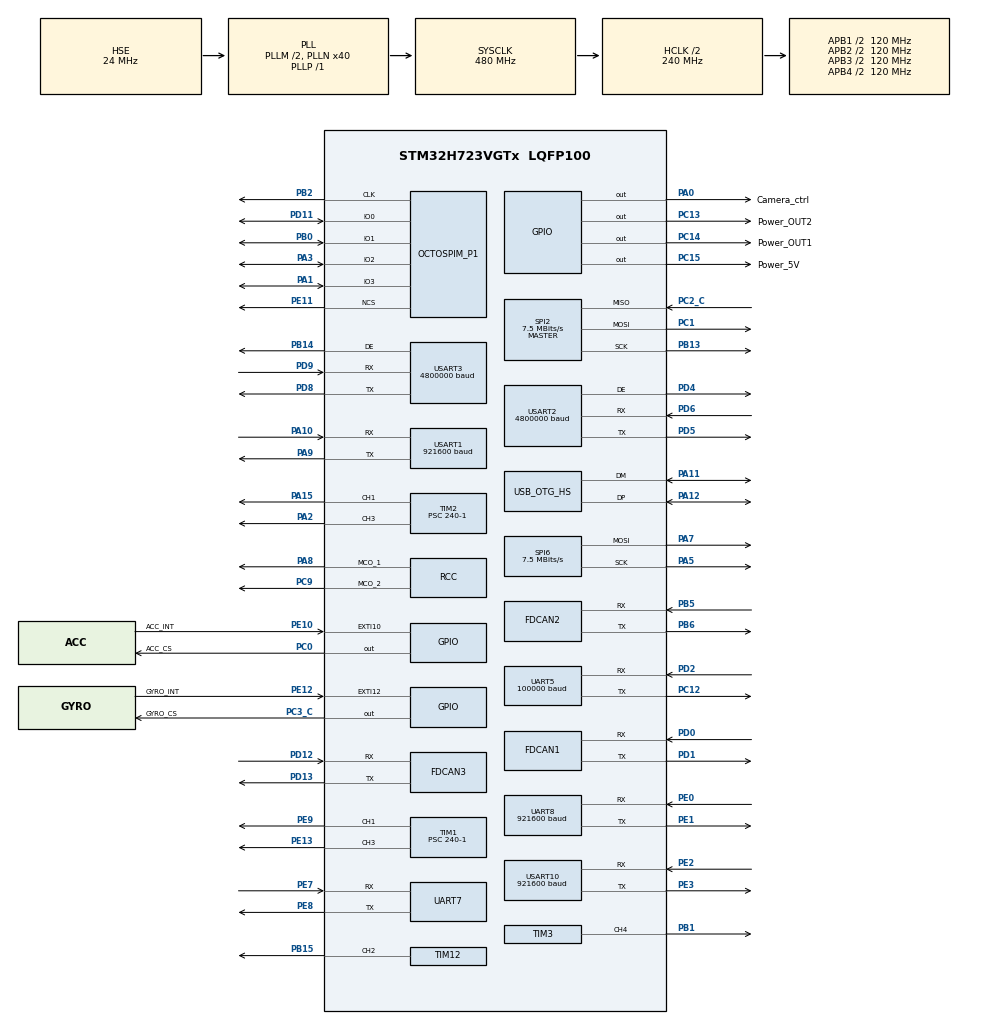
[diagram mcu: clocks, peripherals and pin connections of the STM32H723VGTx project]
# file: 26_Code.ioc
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CORTEX_M7.AccessPermission-Cortex_Memory_Protection_Unit_Region0_Settings=MPU_REGION_PRIV_RO
CORTEX_M7.AccessPermission-Cortex_Memory_Protection_Unit_Region1_Settings=MPU_REGION_FULL_ACCESS
CORTEX_M7.BaseAddress-Cortex_Memory_Protection_Unit_Region0_Settings=0x08000000
CORTEX_M7.BaseAddress-Cortex_Memory_Protection_Unit_Region1_Settings=0x20000000
CORTEX_M7.Enable-Cortex_Memory_Protection_Unit_Region0_Settings=MPU_REGION_ENABLE
CORTEX_M7.Enable-Cortex_Memory_Protection_Unit_Region1_Settings=MPU_REGION_ENABLE
CORTEX_M7.IsCacheable-Cortex_Memory_Protection_Unit_Region0_Settings=MPU_ACCESS_CACHEABLE
CORTEX_M7.MPU_Control=MPU_PRIVILEGED_DEFAULT
CORTEX_M7.Number-Cortex_Memory_Protection_Unit_Region1_Settings=MPU_REGION_NUMBER1
CORTEX_M7.Number-Cortex_Memory_Protection_Unit_Region2_Settings=MPU_REGION_NUMBER2
CORTEX_M7.Number-Cortex_Memory_Protection_Unit_Region3_Settings=MPU_REGION_NUMBER3
CORTEX_M7.Number-Cortex_Memory_Protection_Unit_Region4_Settings=MPU_REGION_NUMBER4
CORTEX_M7.Size-Cortex_Memory_Protection_Unit_Region0_Settings=MPU_REGION_SIZE_1MB
CORTEX_M7.Size-Cortex_Memory_Protection_Unit_Region1_Settings=MPU_REGION_SIZE_128MB
CORTEX_M7.SubRegionDisable-Cortex_Memory_Protection_Unit_Region1_Settings=0xEE
CORTEX_M7.TypeExtField-Cortex_Memory_Protection_Unit_Region0_Settings=MPU_TEX_LEVEL1
CORTEX_M7.TypeExtField-Cortex_Memory_Protection_Unit_Region1_Settings=MPU_TEX_LEVEL1
Dma.Request0=SPI2_RX
Dma.Request1=SPI2_TX
Dma.Request10=USART2_TX
Dma.Request11=USART1_RX
Dma.Request12=USART1_TX
Dma.Request13=UART8_RX
Dma.Request2=UART5_RX
Dma.Request3=UART7_RX
Dma.Request4=UART7_TX
Dma.Request5=USART10_RX
Dma.Request6=USART10_TX
Dma.Request7=USART3_RX
Dma.Request8=USART3_TX
Dma.Request9=USART2_RX
Dma.SPI2_RX.0.Direction=DMA_PERIPH_TO_MEMORY
Dma.SPI2_RX.0.EventEnable=DISABLE
Dma.SPI2_RX.0.FIFOMode=DMA_FIFOMODE_DISABLE
Dma.SPI2_RX.0.Instance=DMA1_Stream0
Dma.SPI2_RX.0.MemDataAlignment=DMA_MDATAALIGN_BYTE
Dma.SPI2_RX.0.MemInc=DMA_MINC_ENABLE
Dma.SPI2_RX.0.Mode=DMA_NORMAL
Dma.SPI2_RX.0.PeriphDataAlignment=DMA_PDATAALIGN_BYTE
Dma.SPI2_RX.0.PeriphInc=DMA_PINC_DISABLE
Dma.SPI2_RX.0.Polarity=HAL_DMAMUX_REQ_GEN_RISING
Dma.SPI2_RX.0.Priority=DMA_PRIORITY_VERY_HIGH
Dma.SPI2_RX.0.RequestNumber=1
Dma.SPI2_RX.0.SignalID=NONE
Dma.SPI2_RX.0.SyncEnable=DISABLE
Dma.SPI2_RX.0.SyncPolarity=HAL_DMAMUX_SYNC_NO_EVENT
Dma.SPI2_RX.0.SyncRequestNumber=1
Dma.SPI2_RX.0.SyncSignalID=NONE
Dma.SPI2_TX.1.Direction=DMA_MEMORY_TO_PERIPH
Dma.SPI2_TX.1.EventEnable=DISABLE
Dma.SPI2_TX.1.FIFOMode=DMA_FIFOMODE_DISABLE
Dma.SPI2_TX.1.Instance=DMA1_Stream1
Dma.SPI2_TX.1.MemDataAlignment=DMA_MDATAALIGN_BYTE
Dma.SPI2_TX.1.MemInc=DMA_MINC_ENABLE
Dma.SPI2_TX.1.Mode=DMA_NORMAL
Dma.SPI2_TX.1.PeriphDataAlignment=DMA_PDATAALIGN_BYTE
Dma.SPI2_TX.1.PeriphInc=DMA_PINC_DISABLE
Dma.SPI2_TX.1.Polarity=HAL_DMAMUX_REQ_GEN_RISING
Dma.SPI2_TX.1.Priority=DMA_PRIORITY_VERY_HIGH
Dma.SPI2_TX.1.RequestNumber=1
Dma.SPI2_TX.1.SignalID=NONE
Dma.SPI2_TX.1.SyncEnable=DISABLE
Dma.SPI2_TX.1.SyncPolarity=HAL_DMAMUX_SYNC_NO_EVENT
Dma.SPI2_TX.1.SyncRequestNumber=1
Dma.SPI2_TX.1.SyncSignalID=NONE
Dma.UART5_RX.2.Direction=DMA_PERIPH_TO_MEMORY
Dma.UART5_RX.2.EventEnable=DISABLE
Dma.UART5_RX.2.FIFOMode=DMA_FIFOMODE_DISABLE
Dma.UART5_RX.2.Instance=DMA1_Stream2
Dma.UART5_RX.2.MemDataAlignment=DMA_MDATAALIGN_BYTE
Dma.UART5_RX.2.MemInc=DMA_MINC_ENABLE
Dma.UART5_RX.2.Mode=DMA_NORMAL
Dma.UART5_RX.2.PeriphDataAlignment=DMA_PDATAALIGN_BYTE
Dma.UART5_RX.2.PeriphInc=DMA_PINC_DISABLE
Dma.UART5_RX.2.Polarity=HAL_DMAMUX_REQ_GEN_RISING
Dma.UART5_RX.2.Priority=DMA_PRIORITY_VERY_HIGH
Dma.UART5_RX.2.RequestNumber=1
Dma.UART5_RX.2.SignalID=NONE
Dma.UART5_RX.2.SyncEnable=DISABLE
Dma.UART5_RX.2.SyncPolarity=HAL_DMAMUX_SYNC_NO_EVENT
Dma.UART5_RX.2.SyncRequestNumber=1
Dma.UART5_RX.2.SyncSignalID=NONE
Dma.UART7_RX.3.Direction=DMA_PERIPH_TO_MEMORY
Dma.UART7_RX.3.EventEnable=DISABLE
Dma.UART7_RX.3.FIFOMode=DMA_FIFOMODE_DISABLE
Dma.UART7_RX.3.Instance=DMA1_Stream3
Dma.UART7_RX.3.MemDataAlignment=DMA_MDATAALIGN_BYTE
Dma.UART7_RX.3.MemInc=DMA_MINC_ENABLE
Dma.UART7_RX.3.Mode=DMA_NORMAL
Dma.UART7_RX.3.PeriphDataAlignment=DMA_PDATAALIGN_BYTE
Dma.UART7_RX.3.PeriphInc=DMA_PINC_DISABLE
Dma.UART7_RX.3.Polarity=HAL_DMAMUX_REQ_GEN_RISING
Dma.UART7_RX.3.Priority=DMA_PRIORITY_VERY_HIGH
Dma.UART7_RX.3.RequestNumber=1
Dma.UART7_RX.3.SignalID=NONE
Dma.UART7_RX.3.SyncEnable=DISABLE
Dma.UART7_RX.3.SyncPolarity=HAL_DMAMUX_SYNC_NO_EVENT
Dma.UART7_RX.3.SyncRequestNumber=1
Dma.UART7_RX.3.SyncSignalID=NONE
Dma.UART7_TX.4.Direction=DMA_MEMORY_TO_PERIPH
Dma.UART7_TX.4.EventEnable=DISABLE
Dma.UART7_TX.4.FIFOMode=DMA_FIFOMODE_DISABLE
Dma.UART7_TX.4.Instance=DMA1_Stream4
Dma.UART7_TX.4.MemDataAlignment=DMA_MDATAALIGN_BYTE
Dma.UART7_TX.4.MemInc=DMA_MINC_ENABLE
Dma.UART7_TX.4.Mode=DMA_NORMAL
Dma.UART7_TX.4.PeriphDataAlignment=DMA_PDATAALIGN_BYTE
Dma.UART7_TX.4.PeriphInc=DMA_PINC_DISABLE
Dma.UART7_TX.4.Polarity=HAL_DMAMUX_REQ_GEN_RISING
Dma.UART7_TX.4.Priority=DMA_PRIORITY_VERY_HIGH
Dma.UART7_TX.4.RequestNumber=1
Dma.UART7_TX.4.SignalID=NONE
Dma.UART7_TX.4.SyncEnable=DISABLE
Dma.UART7_TX.4.SyncPolarity=HAL_DMAMUX_SYNC_NO_EVENT
Dma.UART7_TX.4.SyncRequestNumber=1
Dma.UART7_TX.4.SyncSignalID=NONE
Dma.UART8_RX.13.Direction=DMA_PERIPH_TO_MEMORY
Dma.UART8_RX.13.EventEnable=DISABLE
Dma.UART8_RX.13.FIFOMode=DMA_FIFOMODE_DISABLE
Dma.UART8_RX.13.Instance=DMA2_Stream5
Dma.UART8_RX.13.MemDataAlignment=DMA_MDATAALIGN_BYTE
Dma.UART8_RX.13.MemInc=DMA_MINC_ENABLE
Dma.UART8_RX.13.Mode=DMA_NORMAL
Dma.UART8_RX.13.PeriphDataAlignment=DMA_PDATAALIGN_BYTE
Dma.UART8_RX.13.PeriphInc=DMA_PINC_DISABLE
Dma.UART8_RX.13.Polarity=HAL_DMAMUX_REQ_GEN_RISING
Dma.UART8_RX.13.Priority=DMA_PRIORITY_VERY_HIGH
Dma.UART8_RX.13.RequestNumber=1
Dma.UART8_RX.13.SignalID=NONE
Dma.UART8_RX.13.SyncEnable=DISABLE
Dma.UART8_RX.13.SyncPolarity=HAL_DMAMUX_SYNC_NO_EVENT
Dma.UART8_RX.13.SyncRequestNumber=1
Dma.UART8_RX.13.SyncSignalID=NONE
Dma.USART10_RX.5.Direction=DMA_PERIPH_TO_MEMORY
Dma.USART10_RX.5.EventEnable=DISABLE
Dma.USART10_RX.5.FIFOMode=DMA_FIFOMODE_DISABLE
Dma.USART10_RX.5.Instance=DMA1_Stream5
Dma.USART10_RX.5.MemDataAlignment=DMA_MDATAALIGN_BYTE
Dma.USART10_RX.5.MemInc=DMA_MINC_ENABLE
Dma.USART10_RX.5.Mode=DMA_NORMAL
Dma.USART10_RX.5.PeriphDataAlignment=DMA_PDATAALIGN_BYTE
Dma.USART10_RX.5.PeriphInc=DMA_PINC_DISABLE
Dma.USART10_RX.5.Polarity=HAL_DMAMUX_REQ_GEN_RISING
Dma.USART10_RX.5.Priority=DMA_PRIORITY_VERY_HIGH
Dma.USART10_RX.5.RequestNumber=1
Dma.USART10_RX.5.SignalID=NONE
Dma.USART10_RX.5.SyncEnable=DISABLE
Dma.USART10_RX.5.SyncPolarity=HAL_DMAMUX_SYNC_NO_EVENT
Dma.USART10_RX.5.SyncRequestNumber=1
Dma.USART10_RX.5.SyncSignalID=NONE
Dma.USART10_TX.6.Direction=DMA_MEMORY_TO_PERIPH
Dma.USART10_TX.6.EventEnable=DISABLE
Dma.USART10_TX.6.FIFOMode=DMA_FIFOMODE_DISABLE
Dma.USART10_TX.6.Instance=DMA1_Stream6
Dma.USART10_TX.6.MemDataAlignment=DMA_MDATAALIGN_BYTE
Dma.USART10_TX.6.MemInc=DMA_MINC_ENABLE
Dma.USART10_TX.6.Mode=DMA_NORMAL
Dma.USART10_TX.6.PeriphDataAlignment=DMA_PDATAALIGN_BYTE
Dma.USART10_TX.6.PeriphInc=DMA_PINC_DISABLE
Dma.USART10_TX.6.Polarity=HAL_DMAMUX_REQ_GEN_RISING
Dma.USART10_TX.6.Priority=DMA_PRIORITY_VERY_HIGH
Dma.USART10_TX.6.RequestNumber=1
Dma.USART10_TX.6.SignalID=NONE
Dma.USART10_TX.6.SyncEnable=DISABLE
Dma.USART10_TX.6.SyncPolarity=HAL_DMAMUX_SYNC_NO_EVENT
Dma.USART10_TX.6.SyncRequestNumber=1
Dma.USART10_TX.6.SyncSignalID=NONE
Dma.USART1_RX.11.Direction=DMA_PERIPH_TO_MEMORY
Dma.USART1_RX.11.EventEnable=DISABLE
Dma.USART1_RX.11.FIFOMode=DMA_FIFOMODE_DISABLE
Dma.USART1_RX.11.Instance=DMA2_Stream3
Dma.USART1_RX.11.MemDataAlignment=DMA_MDATAALIGN_BYTE
Dma.USART1_RX.11.MemInc=DMA_MINC_ENABLE
Dma.USART1_RX.11.Mode=DMA_NORMAL
Dma.USART1_RX.11.PeriphDataAlignment=DMA_PDATAALIGN_BYTE
Dma.USART1_RX.11.PeriphInc=DMA_PINC_DISABLE
Dma.USART1_RX.11.Polarity=HAL_DMAMUX_REQ_GEN_RISING
Dma.USART1_RX.11.Priority=DMA_PRIORITY_LOW
Dma.USART1_RX.11.RequestNumber=1
Dma.USART1_RX.11.SignalID=NONE
Dma.USART1_RX.11.SyncEnable=DISABLE
Dma.USART1_RX.11.SyncPolarity=HAL_DMAMUX_SYNC_NO_EVENT
Dma.USART1_RX.11.SyncRequestNumber=1
Dma.USART1_RX.11.SyncSignalID=NONE
Dma.USART1_TX.12.Direction=DMA_MEMORY_TO_PERIPH
Dma.USART1_TX.12.EventEnable=DISABLE
Dma.USART1_TX.12.FIFOMode=DMA_FIFOMODE_DISABLE
Dma.USART1_TX.12.Instance=DMA2_Stream4
Dma.USART1_TX.12.MemDataAlignment=DMA_MDATAALIGN_BYTE
Dma.USART1_TX.12.MemInc=DMA_MINC_ENABLE
Dma.USART1_TX.12.Mode=DMA_NORMAL
Dma.USART1_TX.12.PeriphDataAlignment=DMA_PDATAALIGN_BYTE
Dma.USART1_TX.12.PeriphInc=DMA_PINC_DISABLE
Dma.USART1_TX.12.Polarity=HAL_DMAMUX_REQ_GEN_RISING
Dma.USART1_TX.12.Priority=DMA_PRIORITY_LOW
Dma.USART1_TX.12.RequestNumber=1
Dma.USART1_TX.12.SignalID=NONE
Dma.USART1_TX.12.SyncEnable=DISABLE
Dma.USART1_TX.12.SyncPolarity=HAL_DMAMUX_SYNC_NO_EVENT
Dma.USART1_TX.12.SyncRequestNumber=1
Dma.USART1_TX.12.SyncSignalID=NONE
Dma.USART2_RX.9.Direction=DMA_PERIPH_TO_MEMORY
Dma.USART2_RX.9.EventEnable=DISABLE
Dma.USART2_RX.9.FIFOMode=DMA_FIFOMODE_DISABLE
Dma.USART2_RX.9.Instance=DMA2_Stream1
Dma.USART2_RX.9.MemDataAlignment=DMA_MDATAALIGN_BYTE
Dma.USART2_RX.9.MemInc=DMA_MINC_ENABLE
Dma.USART2_RX.9.Mode=DMA_NORMAL
Dma.USART2_RX.9.PeriphDataAlignment=DMA_PDATAALIGN_BYTE
Dma.USART2_RX.9.PeriphInc=DMA_PINC_DISABLE
Dma.USART2_RX.9.Polarity=HAL_DMAMUX_REQ_GEN_RISING
Dma.USART2_RX.9.Priority=DMA_PRIORITY_VERY_HIGH
Dma.USART2_RX.9.RequestNumber=1
Dma.USART2_RX.9.SignalID=NONE
Dma.USART2_RX.9.SyncEnable=DISABLE
Dma.USART2_RX.9.SyncPolarity=HAL_DMAMUX_SYNC_NO_EVENT
Dma.USART2_RX.9.SyncRequestNumber=1
Dma.USART2_RX.9.SyncSignalID=NONE
Dma.USART2_TX.10.Direction=DMA_MEMORY_TO_PERIPH
Dma.USART2_TX.10.EventEnable=DISABLE
Dma.USART2_TX.10.FIFOMode=DMA_FIFOMODE_DISABLE
Dma.USART2_TX.10.Instance=DMA2_Stream2
Dma.USART2_TX.10.MemDataAlignment=DMA_MDATAALIGN_BYTE
Dma.USART2_TX.10.MemInc=DMA_MINC_ENABLE
Dma.USART2_TX.10.Mode=DMA_NORMAL
Dma.USART2_TX.10.PeriphDataAlignment=DMA_PDATAALIGN_BYTE
Dma.USART2_TX.10.PeriphInc=DMA_PINC_DISABLE
Dma.USART2_TX.10.Polarity=HAL_DMAMUX_REQ_GEN_RISING
Dma.USART2_TX.10.Priority=DMA_PRIORITY_VERY_HIGH
Dma.USART2_TX.10.RequestNumber=1
Dma.USART2_TX.10.SignalID=NONE
Dma.USART2_TX.10.SyncEnable=DISABLE
Dma.USART2_TX.10.SyncPolarity=HAL_DMAMUX_SYNC_NO_EVENT
Dma.USART2_TX.10.SyncRequestNumber=1
Dma.USART2_TX.10.SyncSignalID=NONE
Dma.USART3_RX.7.Direction=DMA_PERIPH_TO_MEMORY
Dma.USART3_RX.7.EventEnable=DISABLE
Dma.USART3_RX.7.FIFOMode=DMA_FIFOMODE_DISABLE
Dma.USART3_RX.7.Instance=DMA1_Stream7
Dma.USART3_RX.7.MemDataAlignment=DMA_MDATAALIGN_BYTE
Dma.USART3_RX.7.MemInc=DMA_MINC_ENABLE
Dma.USART3_RX.7.Mode=DMA_NORMAL
Dma.USART3_RX.7.PeriphDataAlignment=DMA_PDATAALIGN_BYTE
Dma.USART3_RX.7.PeriphInc=DMA_PINC_DISABLE
Dma.USART3_RX.7.Polarity=HAL_DMAMUX_REQ_GEN_RISING
Dma.USART3_RX.7.Priority=DMA_PRIORITY_VERY_HIGH
Dma.USART3_RX.7.RequestNumber=1
Dma.USART3_RX.7.SignalID=NONE
Dma.USART3_RX.7.SyncEnable=DISABLE
Dma.USART3_RX.7.SyncPolarity=HAL_DMAMUX_SYNC_NO_EVENT
Dma.USART3_RX.7.SyncRequestNumber=1
Dma.USART3_RX.7.SyncSignalID=NONE
Dma.USART3_TX.8.Direction=DMA_MEMORY_TO_PERIPH
Dma.USART3_TX.8.EventEnable=DISABLE
Dma.USART3_TX.8.FIFOMode=DMA_FIFOMODE_DISABLE
Dma.USART3_TX.8.Instance=DMA2_Stream0
Dma.USART3_TX.8.MemDataAlignment=DMA_MDATAALIGN_BYTE
Dma.USART3_TX.8.MemInc=DMA_MINC_ENABLE
Dma.USART3_TX.8.Mode=DMA_NORMAL
Dma.USART3_TX.8.PeriphDataAlignment=DMA_PDATAALIGN_BYTE
Dma.USART3_TX.8.PeriphInc=DMA_PINC_DISABLE
Dma.USART3_TX.8.Polarity=HAL_DMAMUX_REQ_GEN_RISING
Dma.USART3_TX.8.Priority=DMA_PRIORITY_VERY_HIGH
Dma.USART3_TX.8.RequestNumber=1
Dma.USART3_TX.8.SignalID=NONE
Dma.USART3_TX.8.SyncEnable=DISABLE
Dma.USART3_TX.8.SyncPolarity=HAL_DMAMUX_SYNC_NO_EVENT
Dma.USART3_TX.8.SyncRequestNumber=1
Dma.USART3_TX.8.SyncSignalID=NONE
FDCAN1.AutoRetransmission=DISABLE
FDCAN1.CalculateBaudRateNominal=1000000
FDCAN1.CalculateTimeBitNominal=1000
FDCAN1.CalculateTimeQuantumNominal=25.0
FDCAN1.DataPrescaler=3
FDCAN1.DataSyncJumpWidth=10
FDCAN1.DataTimeSeg1=29
FDCAN1.DataTimeSeg2=10
FDCAN1.NominalPrescaler=3
FDCAN1.NominalSyncJumpWidth=10
FDCAN1.NominalTimeSeg1=29
FDCAN1.NominalTimeSeg2=10
FDCAN1.RxFifo0ElmtsNbr=4
FDCAN1.StdFiltersNbr=1
FDCAN1.TxFifoQueueElmtsNbr=32
FDCAN2.AutoRetransmission=ENABLE
FDCAN2.CalculateBaudRateNominal=1000000
FDCAN2.CalculateTimeBitNominal=1000
FDCAN2.CalculateTimeQuantumNominal=25.0
FDCAN2.DataPrescaler=3
FDCAN2.DataSyncJumpWidth=10
FDCAN2.DataTimeSeg1=29
FDCAN2.DataTimeSeg2=10
FDCAN2.MessageRAMOffset=0x406
FDCAN2.NominalPrescaler=3
FDCAN2.NominalSyncJumpWidth=10
FDCAN2.NominalTimeSeg1=29
FDCAN2.NominalTimeSeg2=10
FDCAN2.RxFifo0ElmtsNbr=16
FDCAN2.StdFiltersNbr=1
FDCAN2.TxFifoQueueElmtsNbr=32
FDCAN3.AutoRetransmission=DISABLE
FDCAN3.CalculateBaudRateNominal=1000000
FDCAN3.CalculateTimeBitNominal=1000
FDCAN3.CalculateTimeQuantumNominal=25.0
FDCAN3.DataPrescaler=3
FDCAN3.DataSyncJumpWidth=10
FDCAN3.DataTimeSeg1=29
FDCAN3.DataTimeSeg2=10
FDCAN3.MessageRAMOffset=0x812
FDCAN3.NominalPrescaler=3
FDCAN3.NominalSyncJumpWidth=10
FDCAN3.NominalTimeSeg1=29
FDCAN3.NominalTimeSeg2=10
FDCAN3.RxFifo0ElmtsNbr=4
FDCAN3.StdFiltersNbr=1
FDCAN3.TxFifoQueueElmtsNbr=32
FREERTOS.Tasks01=Remote_control,24,512,Remote_control_Task,Default,NULL,Dynamic,NULL,NULL;Gimbal,8,512,Gimbal_Task,Default,NULL,Dynamic,NULL,NULL;Chassis,8,1024,Chassis_Task,Default,NULL,Dynamic,NULL,NULL;Motor_control,8,256,Motor_control_Task,Default,NULL,Dynamic,NULL,NULL;Shoot,8,256,Shoot_Task,Default,NULL,Dynamic,NULL,NULL;Referee,8,512,Referee_Task,Default,NULL,Dynamic,NULL,NULL;Log_and_debug,8,256,Log_and_debug_Task,Default,NULL,Dynamic,NULL,NULL
FREERTOS.configENABLE_FPU=1
FREERTOS.configUSE_IDLE_HOOK=1
Mcu.Family=STM32H7
Mcu.Name=STM32H723VGTx
Mcu.Package=LQFP100
NVIC.DMA1_Stream0_IRQn=true\:5\:0\:false\:false\:true\:true\:false\:true\:true
NVIC.DMA1_Stream1_IRQn=true\:5\:0\:false\:false\:true\:true\:false\:true\:true
NVIC.DMA1_Stream2_IRQn=true\:5\:0\:false\:false\:true\:true\:false\:true\:true
NVIC.DMA1_Stream3_IRQn=true\:5\:0\:true\:false\:true\:true\:false\:true\:true
NVIC.DMA1_Stream4_IRQn=true\:5\:0\:true\:false\:true\:true\:false\:true\:true
NVIC.DMA1_Stream5_IRQn=true\:5\:0\:false\:false\:true\:true\:false\:true\:true
NVIC.DMA1_Stream6_IRQn=true\:5\:0\:false\:false\:true\:true\:false\:true\:true
NVIC.DMA1_Stream7_IRQn=true\:5\:0\:false\:false\:true\:true\:false\:true\:true
NVIC.DMA2_Stream0_IRQn=true\:5\:0\:false\:false\:true\:true\:false\:true\:true
NVIC.DMA2_Stream1_IRQn=true\:5\:0\:false\:false\:true\:true\:false\:true\:true
NVIC.DMA2_Stream2_IRQn=true\:5\:0\:false\:false\:true\:true\:false\:true\:true
NVIC.DMA2_Stream3_IRQn=true\:5\:0\:false\:false\:true\:true\:false\:true\:true
NVIC.DMA2_Stream4_IRQn=true\:5\:0\:false\:false\:true\:true\:false\:true\:true
NVIC.DMA2_Stream5_IRQn=true\:5\:0\:false\:false\:true\:true\:false\:true\:true
NVIC.FDCAN1_IT0_IRQn=true\:5\:0\:false\:false\:true\:true\:true\:true\:true
NVIC.FDCAN1_IT1_IRQn=true\:5\:0\:false\:false\:true\:true\:true\:true\:true
NVIC.FDCAN2_IT0_IRQn=true\:5\:0\:false\:false\:true\:true\:true\:true\:true
NVIC.FDCAN2_IT1_IRQn=true\:5\:0\:false\:false\:true\:true\:true\:true\:true
NVIC.FDCAN3_IT0_IRQn=true\:5\:0\:false\:false\:true\:true\:true\:true\:true
NVIC.FDCAN3_IT1_IRQn=true\:5\:0\:false\:false\:true\:true\:true\:true\:true
NVIC.OTG_HS_IRQn=true\:5\:0\:false\:false\:true\:true\:true\:true\:true
NVIC.PriorityGroup=NVIC_PRIORITYGROUP_4
NVIC.SPI2_IRQn=true\:5\:0\:false\:false\:true\:true\:true\:true\:true
NVIC.TIM23_IRQn=true\:15\:0\:true\:false\:true\:false\:false\:true\:true
NVIC.TIM8_BRK_TIM12_IRQn=true\:5\:0\:false\:false\:true\:true\:true\:true\:true
NVIC.TIM8_TRG_COM_TIM14_IRQn=true\:5\:0\:false\:false\:true\:true\:true\:true\:true
NVIC.TIM8_UP_TIM13_IRQn=true\:5\:0\:true\:false\:true\:true\:true\:true\:true
NVIC.TimeBase=TIM23_IRQn
NVIC.TimeBaseIP=TIM23
NVIC.UART5_IRQn=true\:5\:0\:false\:false\:true\:true\:true\:true\:true
NVIC.UART7_IRQn=true\:5\:0\:true\:false\:true\:true\:true\:true\:true
NVIC.UART8_IRQn=true\:5\:0\:false\:false\:true\:true\:true\:true\:true
NVIC.USART10_IRQn=true\:5\:0\:false\:false\:true\:true\:true\:true\:true
NVIC.USART1_IRQn=true\:5\:0\:false\:false\:true\:true\:true\:true\:true
NVIC.USART2_IRQn=true\:5\:0\:false\:false\:true\:true\:true\:true\:true
NVIC.USART3_IRQn=true\:5\:0\:false\:false\:true\:true\:true\:true\:true
OCTOSPI2.ClockMode=HAL_OSPI_CLOCK_MODE_3
OCTOSPI2.ClockPrescaler=3
OCTOSPI2.DeviceSize=23
OCTOSPI2.DeviceType=SPI_DEVICE_FLASH
OCTOSPI2.FifoThreshold=8
OCTOSPI2.SampleShifting=HAL_OSPI_SAMPLE_SHIFTING_HALFCYCLE
PA0.GPIO_Label=Camera_ctrl
PA0.GPIO_PuPd=GPIO_PULLDOWN
PA0.GPIO_Speed=GPIO_SPEED_FREQ_VERY_HIGH
PA0.PinState=GPIO_PIN_SET
PA0.Signal=GPIO_Output
PA1.Mode=OCTOSPI2_IOL_Port1L
PA1.Signal=OCTOSPIM_P1_IO3
PA10.Mode=Asynchronous
PA10.Signal=USART1_RX
PA11.Mode=Device_Only_FS
PA11.Signal=USB_OTG_HS_DM
PA12.Mode=Device_Only_FS
PA12.Signal=USB_OTG_HS_DP
PA13(JTMS/SWDIO).Mode=Serial_Wire
PA13(JTMS/SWDIO).Signal=DEBUG_JTMS-SWDIO
PA14(JTCK/SWCLK).Mode=Serial_Wire
PA14(JTCK/SWCLK).Signal=DEBUG_JTCK-SWCLK
PA15(JTDI).Signal=S_TIM2_CH1_ETR
PA2.Signal=S_TIM2_CH3
PA3.Mode=OCTOSPI2_IOL_Port1L
PA3.Signal=OCTOSPIM_P1_IO2
PA5.GPIO_Speed=GPIO_SPEED_FREQ_VERY_HIGH
PA5.Mode=TX_Only_Simplex_Unidirect_Master
PA5.Signal=SPI6_SCK
PA7.Mode=TX_Only_Simplex_Unidirect_Master
PA7.Signal=SPI6_MOSI
PA8.Mode=Clock-out-1
PA8.Signal=RCC_MCO_1
PA9.Mode=Asynchronous
PA9.Signal=USART1_TX
PB0.Mode=OCTOSPI2_IOL_Port1L
PB0.Signal=OCTOSPIM_P1_IO1
PB1.Signal=S_TIM3_CH4
PB13.Mode=Full_Duplex_Master
PB13.Signal=SPI2_SCK
PB14.Mode=Hardware Flow Control (RS485)
PB14.Signal=USART3_DE
PB15.Signal=S_TIM12_CH2
PB2.Mode=O2_P1_CLK
PB2.Signal=OCTOSPIM_P1_CLK
PB5.Mode=FDCAN_Activate
PB5.Signal=FDCAN2_RX
PB6.Mode=FDCAN_Activate
PB6.Signal=FDCAN2_TX
PC0.GPIO_Label=ACC_CS
PC0.GPIO_Speed=GPIO_SPEED_FREQ_VERY_HIGH
PC0.PinState=GPIO_PIN_SET
PC0.Signal=GPIO_Output
PC1.Mode=Full_Duplex_Master
PC1.Signal=SPI2_MOSI
PC12.Mode=Asynchronous
PC12.Signal=UART5_TX
PC13.GPIO_Label=Power_OUT2
PC13.PinState=GPIO_PIN_SET
PC13.Signal=GPIO_Output
PC14-OSC32_IN.GPIO_Label=Power_OUT1
PC14-OSC32_IN.PinState=GPIO_PIN_SET
PC14-OSC32_IN.Signal=GPIO_Output
PC15-OSC32_OUT.GPIO_Label=Power_5V
PC15-OSC32_OUT.Signal=GPIO_Output
PC2_C.Mode=Full_Duplex_Master
PC2_C.Signal=SPI2_MISO
PC3_C.GPIO_Label=GYRO_CS
PC3_C.GPIO_Speed=GPIO_SPEED_FREQ_VERY_HIGH
PC3_C.PinState=GPIO_PIN_SET
PC3_C.Signal=GPIO_Output
PC9.Mode=Clock-out-2
PC9.Signal=RCC_MCO_2
PD0.Mode=FDCAN_Activate
PD0.Signal=FDCAN1_RX
PD1.Mode=FDCAN_Activate
PD1.Signal=FDCAN1_TX
PD11.Mode=OCTOSPI2_IOL_Port1L
PD11.Signal=OCTOSPIM_P1_IO0
PD12.Mode=FDCAN_Activate
PD12.Signal=FDCAN3_RX
PD13.Mode=FDCAN_Activate
PD13.Signal=FDCAN3_TX
PD2.Mode=Asynchronous
PD2.Signal=UART5_RX
PD4.Mode=Hardware Flow Control (RS485)
PD4.Signal=USART2_DE
PD5.Mode=Asynchronous
PD5.Signal=USART2_TX
PD6.Mode=Asynchronous
PD6.Signal=USART2_RX
PD8.Mode=Asynchronous
PD8.Signal=USART3_TX
PD9.Mode=Asynchronous
PD9.Signal=USART3_RX
PE0.GPIO_Speed=GPIO_SPEED_FREQ_VERY_HIGH
PE0.Mode=Asynchronous
PE0.Signal=UART8_RX
PE1.GPIO_Speed=GPIO_SPEED_FREQ_VERY_HIGH
PE1.Mode=Asynchronous
PE1.Signal=UART8_TX
PE10.GPIO_Label=ACC_INT
PE10.Signal=GPXTI10
PE11.Mode=OCTOSPI2_Port1_NCS
PE11.Signal=OCTOSPIM_P1_NCS
PE12.GPIO_Label=GYRO_INT
PE12.Signal=GPXTI12
PE13.Signal=S_TIM1_CH3
PE2.GPIO_Speed=GPIO_SPEED_FREQ_VERY_HIGH
PE2.Mode=Asynchronous
PE2.Signal=USART10_RX
PE3.GPIO_Speed=GPIO_SPEED_FREQ_VERY_HIGH
PE3.Mode=Asynchronous
PE3.Signal=USART10_TX
PE7.GPIO_Speed=GPIO_SPEED_FREQ_VERY_HIGH
PE7.Mode=Asynchronous
PE7.Signal=UART7_RX
PE8.GPIO_Speed=GPIO_SPEED_FREQ_VERY_HIGH
PE8.Mode=Asynchronous
PE8.Signal=UART7_TX
PE9.Signal=S_TIM1_CH1
PH0-OSC_IN.Mode=HSE-External-Oscillator
PH0-OSC_IN.Signal=RCC_OSC_IN
PH1-OSC_OUT.Mode=HSE-External-Oscillator
PH1-OSC_OUT.Signal=RCC_OSC_OUT
ProjectManager.HeapSize=0x200
ProjectManager.StackSize=0x400
ProjectManager.TargetToolchain=CMake
RCC.ADCFreq_Value=48375000
RCC.APB1Freq_Value=120000000
RCC.APB2Freq_Value=120000000
RCC.APB3Freq_Value=120000000
RCC.APB4Freq_Value=120000000
RCC.CortexFreq_Value=480000000
RCC.D1PPRE=RCC_APB3_DIV2
RCC.D2PPRE1=RCC_APB1_DIV2
RCC.D2PPRE2=RCC_APB2_DIV2
RCC.D3PPRE=RCC_APB4_DIV2
RCC.DIVM1=2
RCC.DIVN1=40
RCC.DIVP1=1
RCC.DIVQ1=4
RCC.HCLKFreq_Value=240000000
RCC.HPRE=RCC_HCLK_DIV2
RCC.HSE_VALUE=24000000
RCC.PLLFRACN=0
RCC.PLLSourceVirtual=RCC_PLLSOURCE_HSE
RCC.SYSCLKFreq_VALUE=480000000
RCC.SYSCLKSource=RCC_SYSCLKSOURCE_PLLCLK
RCC.USBCLockSelection=RCC_USBCLKSOURCE_HSI48
RCC.USBFreq_Value=48000000
SH.S_TIM12_CH2.0=TIM12_CH2,PWM Generation2 CH2
SH.S_TIM1_CH1.0=TIM1_CH1,PWM Generation1 CH1
SH.S_TIM1_CH3.0=TIM1_CH3,PWM Generation3 CH3
SH.S_TIM2_CH1_ETR.0=TIM2_CH1,PWM Generation1 CH1
SH.S_TIM2_CH3.0=TIM2_CH3,PWM Generation3 CH3
SH.S_TIM3_CH4.0=TIM3_CH4,PWM Generation4 CH4
SPI2.BaudRatePrescaler=SPI_BAUDRATEPRESCALER_16
SPI2.CLKPhase=SPI_PHASE_2EDGE
SPI2.CLKPolarity=SPI_POLARITY_HIGH
SPI2.CalculateBaudRate=7.5 MBits/s
SPI2.DataSize=SPI_DATASIZE_8BIT
SPI2.Direction=SPI_DIRECTION_2LINES
SPI2.Mode=SPI_MODE_MASTER
SPI2.VirtualType=VM_MASTER
SPI6.BaudRatePrescaler=SPI_BAUDRATEPRESCALER_16
SPI6.CLKPhase=SPI_PHASE_2EDGE
SPI6.CLKPolarity=SPI_POLARITY_HIGH
SPI6.CalculateBaudRate=7.5 MBits/s
SPI6.DataSize=SPI_DATASIZE_8BIT
SPI6.Direction=SPI_DIRECTION_2LINES_TXONLY
SPI6.Mode=SPI_MODE_MASTER
SPI6.VirtualType=VM_MASTER
TIM1.Channel-PWM\ Generation1\ CH1=TIM_CHANNEL_1
TIM1.Channel-PWM\ Generation3\ CH3=TIM_CHANNEL_3
TIM1.Period=2000-1
TIM1.Prescaler=240-1
TIM12.Channel-PWM\ Generation2\ CH2=TIM_CHANNEL_2
TIM12.Period=250-1
TIM12.Prescaler=240-1
TIM13.Period=100-1
TIM13.Prescaler=2400-1
TIM14.Period=500-1
TIM14.Prescaler=2400-1
TIM2.Channel-PWM\ Generation1\ CH1=TIM_CHANNEL_1
TIM2.Channel-PWM\ Generation3\ CH3=TIM_CHANNEL_3
TIM2.Period=2000-1
TIM2.Prescaler=240-1
TIM3.Channel-PWM\ Generation4\ CH4=TIM_CHANNEL_4
TIM3.Period=20000-1
TIM3.Prescaler=240-1
UART5.BaudRate=100000
UART5.Parity=PARITY_EVEN
UART5.StopBits=UART_STOPBITS_1
UART5.WordLength=WORDLENGTH_9B
UART8.BaudRate=921600
UART8.Mode=MODE_RX
USART1.BaudRate=921600
USART1.VirtualMode-Asynchronous=VM_ASYNC
USART10.BaudRate=921600
USART10.VirtualMode=VM_ASYNC
USART2.BaudRate=4800000
USART2.VirtualMode-Asynchronous=VM_ASYNC
USART2.VirtualMode-Hardware\ Flow\ Control\ (RS485)=VM_ASYNC
USART3.BaudRate=4800000
USART3.VirtualMode-Asynchronous=VM_ASYNC
USART3.VirtualMode-Hardware\ Flow\ Control\ (RS485)=VM_ASYNC
USB_DEVICE.CLASS_NAME_HS=CDC
USB_DEVICE.VirtualMode=Cdc
USB_DEVICE.VirtualModeHS=Cdc_HS
USB_OTG_HS.VirtualMode-Device_Only_FS=Device_Only_FS
VP_FREERTOS_VS_CMSIS_V2.Mode=CMSIS_V2
VP_IWDG1_VS_IWDG.Mode=IWDG_Activate
VP_MEMORYMAP_VS_MEMORYMAP.Mode=CurAppReg
VP_OCTOSPI2_VS_quad.Mode=quad_mode
VP_SYS_VS_tim23.Mode=TIM23
VP_TIM12_VS_ClockSourceINT.Mode=Internal
VP_TIM13_VS_ClockSourceINT.Mode=Enable_Timer
VP_TIM14_VS_ClockSourceINT.Mode=Enable_Timer
VP_USB_DEVICE_VS_USB_DEVICE_CDC_HS.Mode=CDC_HS
board=custom

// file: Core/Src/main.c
/* USER CODE BEGIN Header */
/**
 ******************************************************************************
 * @file           : main.c
 * @brief          : Main program body
 ******************************************************************************
 * @attention
 *
 * Copyright (c) 2025 STMicroelectronics.
 * All rights reserved.
 *
 * This software is licensed under terms that can be found in the LICENSE file
 * in the root directory of this software component.
 * If no LICENSE file comes with this software, it is provided AS-IS.
 *
 ******************************************************************************
 */
/* USER CODE END Header */
#include "main.h"
#include "cmsis_os.h"
#include "dma.h"
#include "fdcan.h"
#include "iwdg.h"
#include "octospi.h"
#include "spi.h"
#include "tim.h"
#include "usart.h"
#include "usb_device.h"
#include "gpio.h"

/* USER CODE BEGIN Includes */
#include "app_api.h"
#include "UART_data_txrx.h"
#include "CAN_receive_send.h"

#include "motor.h"
#include "supercup.h"
#include "IMU_updata.h"
#include "dm_imu.h"
#include "LED.h"
#include "Power_switch.h"
#include "referee_system.h"

#include "music.h"
#include "Chassis.h"
#include "Gimbal.h"
#include "Shoot.h"
#include "Auto_control.h"
#include "Global_status.h"

/* USER CODE END Includes */

/* USER CODE BEGIN PV */
static uint32_t tick_ms = 0;
/* USER CODE END PV */

void SystemClock_Config(void);
static void MPU_Config(void);
void MX_FREERTOS_Init(void);

/* USER CODE BEGIN 0 */
HAL_StatusTypeDef ITsta;
extern DMA_HandleTypeDef hdma_uart7_rx;
/* USER CODE END 0 */

int main(void)
{

  /* MPU Configuration--------------------------------------------------------*/
  MPU_Config();

  /* MCU Configuration--------------------------------------------------------*/

  /* Reset of all peripherals, Initializes the Flash interface and the Systick. */
  HAL_Init();

  /* Configure the system clock */
  SystemClock_Config();

  /* Initialize all configured peripherals */
  MX_GPIO_Init();
  MX_DMA_Init();
  MX_FDCAN1_Init();
  MX_FDCAN2_Init();
  MX_SPI2_Init();
  MX_TIM3_Init();
  MX_TIM13_Init();
  MX_TIM14_Init();
  MX_SPI6_Init();
  MX_UART5_Init();
  MX_UART7_Init();
  MX_USART10_UART_Init();
  MX_FDCAN3_Init();
  MX_OCTOSPI2_Init();
  MX_IWDG1_Init();
  MX_USART2_UART_Init();
  MX_USART3_UART_Init();
  MX_USART1_UART_Init();
  MX_TIM12_Init();
  MX_TIM1_Init();
  MX_TIM2_Init();
  MX_UART8_Init();
  /* USER CODE BEGIN 2 */
  HAL_IWDG_Refresh(&hiwdg1);
  /*INIT*/
  App_Init();
  Uart_Init();
  Can_Init();
  Refree_system_init();
  imu_init(0x01, 0x11, &hfdcan3, &dm_imu_gimbal);
  imu_change_to_request(&dm_imu_gimbal);
  HAL_IWDG_Refresh(&hiwdg1);
  HAL_GPIO_WritePin(Power_5V_GPIO_Port, Power_5V_Pin, GPIO_PIN_SET);
  HAL_GPIO_WritePin(Camera_ctrl_GPIO_Port, Camera_ctrl_Pin, GPIO_PIN_SET);
  HAL_TIM_Base_Start_IT(&htim14);
  HAL_TIM_Base_Start_IT(&htim13);

  /* USER CODE END 2 */

  /* Init scheduler */
  osKernelInitialize();  /* Call init function for freertos objects (in cmsis_os2.c) */
  MX_FREERTOS_Init();

  /* Start scheduler */
  osKernelStart();

  /* We should never get here as control is now taken by the scheduler */

  /* Infinite loop */
  while (1)
  {

  }
}

void SystemClock_Config(void)
{
  RCC_OscInitTypeDef RCC_OscInitStruct = {0};
  RCC_ClkInitTypeDef RCC_ClkInitStruct = {0};

  /** Supply configuration update enable
  */
  HAL_PWREx_ConfigSupply(PWR_LDO_SUPPLY);

  /** Configure the main internal regulator output voltage
  */
  __HAL_PWR_VOLTAGESCALING_CONFIG(PWR_REGULATOR_VOLTAGE_SCALE0);

  while(!__HAL_PWR_GET_FLAG(PWR_FLAG_VOSRDY)) {}

  /** Initializes the RCC Oscillators according to the specified parameters
  * in the RCC_OscInitTypeDef structure.
  */
  RCC_OscInitStruct.OscillatorType = RCC_OSCILLATORTYPE_HSI48|RCC_OSCILLATORTYPE_HSI
                              |RCC_OSCILLATORTYPE_LSI|RCC_OSCILLATORTYPE_HSE;
  RCC_OscInitStruct.HSEState = RCC_HSE_ON;
  RCC_OscInitStruct.HSIState = RCC_HSI_DIV1;
  RCC_OscInitStruct.HSICalibrationValue = 64;
  RCC_OscInitStruct.LSIState = RCC_LSI_ON;
  RCC_OscInitStruct.HSI48State = RCC_HSI48_ON;
  RCC_OscInitStruct.PLL.PLLState = RCC_PLL_ON;
  RCC_OscInitStruct.PLL.PLLSource = RCC_PLLSOURCE_HSE;
  RCC_OscInitStruct.PLL.PLLM = 2;
  RCC_OscInitStruct.PLL.PLLN = 40;
  RCC_OscInitStruct.PLL.PLLP = 1;
  RCC_OscInitStruct.PLL.PLLQ = 4;
  RCC_OscInitStruct.PLL.PLLR = 2;
  RCC_OscInitStruct.PLL.PLLRGE = RCC_PLL1VCIRANGE_3;
  RCC_OscInitStruct.PLL.PLLVCOSEL = RCC_PLL1VCOWIDE;
  RCC_OscInitStruct.PLL.PLLFRACN = 0;
  if (HAL_RCC_OscConfig(&RCC_OscInitStruct) != HAL_OK)
  {
    Error_Handler();
  }

  /** Initializes the CPU, AHB and APB buses clocks
  */
  RCC_ClkInitStruct.ClockType = RCC_CLOCKTYPE_HCLK|RCC_CLOCKTYPE_SYSCLK
                              |RCC_CLOCKTYPE_PCLK1|RCC_CLOCKTYPE_PCLK2
                              |RCC_CLOCKTYPE_D3PCLK1|RCC_CLOCKTYPE_D1PCLK1;
  RCC_ClkInitStruct.SYSCLKSource = RCC_SYSCLKSOURCE_PLLCLK;
  RCC_ClkInitStruct.SYSCLKDivider = RCC_SYSCLK_DIV1;
  RCC_ClkInitStruct.AHBCLKDivider = RCC_HCLK_DIV2;
  RCC_ClkInitStruct.APB3CLKDivider = RCC_APB3_DIV2;
  RCC_ClkInitStruct.APB1CLKDivider = RCC_APB1_DIV2;
  RCC_ClkInitStruct.APB2CLKDivider = RCC_APB2_DIV2;
  RCC_ClkInitStruct.APB4CLKDivider = RCC_APB4_DIV2;

  if (HAL_RCC_ClockConfig(&RCC_ClkInitStruct, FLASH_LATENCY_3) != HAL_OK)
  {
    Error_Handler();
  }
  HAL_RCC_MCOConfig(RCC_MCO1, RCC_MCO1SOURCE_HSI, RCC_MCODIV_1);
  HAL_RCC_MCOConfig(RCC_MCO2, RCC_MCO2SOURCE_SYSCLK, RCC_MCODIV_1);
}

 /* MPU Configuration */

void MPU_Config(void)
{
  MPU_Region_InitTypeDef MPU_InitStruct = {0};

  /* Disables the MPU */
  HAL_MPU_Disable();

  /** Initializes and configures the Region and the memory to be protected
  */
  MPU_InitStruct.Enable = MPU_REGION_ENABLE;
  MPU_InitStruct.Number = MPU_REGION_NUMBER0;
  MPU_InitStruct.BaseAddress = 0x08000000;
  MPU_InitStruct.Size = MPU_REGION_SIZE_1MB;
  MPU_InitStruct.SubRegionDisable = 0x0;
  MPU_InitStruct.TypeExtField = MPU_TEX_LEVEL1;
  MPU_InitStruct.AccessPermission = MPU_REGION_PRIV_RO;
  MPU_InitStruct.DisableExec = MPU_INSTRUCTION_ACCESS_ENABLE;
  MPU_InitStruct.IsShareable = MPU_ACCESS_NOT_SHAREABLE;
  MPU_InitStruct.IsCacheable = MPU_ACCESS_CACHEABLE;
  MPU_InitStruct.IsBufferable = MPU_ACCESS_NOT_BUFFERABLE;

  HAL_MPU_ConfigRegion(&MPU_InitStruct);

  /** Initializes and configures the Region and the memory to be protected
  */
  MPU_InitStruct.Number = MPU_REGION_NUMBER1;
  MPU_InitStruct.BaseAddress = 0x20000000;
  MPU_InitStruct.Size = MPU_REGION_SIZE_128MB;
  MPU_InitStruct.SubRegionDisable = 0xEE;
  MPU_InitStruct.AccessPermission = MPU_REGION_FULL_ACCESS;
  MPU_InitStruct.IsCacheable = MPU_ACCESS_NOT_CACHEABLE;

  HAL_MPU_ConfigRegion(&MPU_InitStruct);

  /** Initializes and configures the Region and the memory to be protected
  */
  MPU_InitStruct.Number = MPU_REGION_NUMBER2;
  HAL_MPU_ConfigRegion(&MPU_InitStruct);

  /** Initializes and configures the Region and the memory to be protected
  */
  MPU_InitStruct.Number = MPU_REGION_NUMBER3;
  HAL_MPU_ConfigRegion(&MPU_InitStruct);

  /** Initializes and configures the Region and the memory to be protected
  */
  MPU_InitStruct.Number = MPU_REGION_NUMBER4;
  HAL_MPU_ConfigRegion(&MPU_InitStruct);
  /* Enables the MPU */
  HAL_MPU_Enable(MPU_PRIVILEGED_DEFAULT);

}

void HAL_TIM_PeriodElapsedCallback(TIM_HandleTypeDef *htim)
{
  /* USER CODE BEGIN Callback 0 */
  static int i = 0;
  /* USER CODE END Callback 0 */
  if (htim->Instance == TIM23)
  {
    HAL_IncTick();
  }
  /* USER CODE BEGIN Callback 1 */
  uint8_t history = 4;
  if (htim->Instance == TIM13) // 1000HZ
  {
    App_ImuStep(); // 达妙外置陀螺仪（云台自瞄）
  }
  else if (htim->Instance == TIM14) // 200Hz
  {
    if (i == 0)
    {
      HAL_GPIO_WritePin(Camera_ctrl_GPIO_Port, Camera_ctrl_Pin, GPIO_PIN_SET);
      App_SendVisionTelemetry();
      i = 1;
    }
    else
    {
      HAL_GPIO_WritePin(Camera_ctrl_GPIO_Port, Camera_ctrl_Pin, GPIO_PIN_RESET);
      i = 0;
    }
  }
  /* USER CODE END Callback 1 */
}

void Error_Handler(void)
{
  __disable_irq();
  while (1)
  {
  }
}

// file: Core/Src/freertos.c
/* USER CODE BEGIN Header */
/**
 ******************************************************************************
 * File Name          : freertos.c
 * Description        : Code for freertos applications
 ******************************************************************************
 * @attention
 *
 * Copyright (c) 2025 STMicroelectronics.
 * All rights reserved.
 *
 * This software is licensed under terms that can be found in the LICENSE file
 * in the root directory of this software component.
 * If no LICENSE file comes with this software, it is provided AS-IS.
 *
 ******************************************************************************
 */
/* USER CODE END Header */

#include "FreeRTOS.h"
#include "task.h"
#include "main.h"
#include "cmsis_os.h"

/* USER CODE BEGIN Includes */
#include "app_api.h"
#include "iwdg.h"
#include "LED.h"
#include "BoardLink.h"
#include "Vofa_Justfloat_Send.h"

/* USER CODE END Includes */

/* Definitions for Remote_control */
osThreadId_t Remote_controlHandle;
const osThreadAttr_t Remote_control_attributes = {
  .name = "Remote_control",
  .stack_size = 512 * 4,
  .priority = (osPriority_t) osPriorityNormal,
};
/* Definitions for Gimbal */
osThreadId_t GimbalHandle;
const osThreadAttr_t Gimbal_attributes = {
  .name = "Gimbal",
  .stack_size = 512 * 4,
  .priority = (osPriority_t) osPriorityLow,
};
/* Definitions for Chassis */
osThreadId_t ChassisHandle;
const osThreadAttr_t Chassis_attributes = {
  .name = "Chassis",
  .stack_size = 1024 * 4,
  .priority = (osPriority_t) osPriorityLow,
};
/* Definitions for Motor_control */
osThreadId_t Motor_controlHandle;
const osThreadAttr_t Motor_control_attributes = {
  .name = "Motor_control",
  .stack_size = 256 * 4,
  .priority = (osPriority_t) osPriorityLow,
};
/* Definitions for Shoot */
osThreadId_t ShootHandle;
const osThreadAttr_t Shoot_attributes = {
  .name = "Shoot",
  .stack_size = 256 * 4,
  .priority = (osPriority_t) osPriorityLow,
};
/* Definitions for Referee */
osThreadId_t RefereeHandle;
const osThreadAttr_t Referee_attributes = {
  .name = "Referee",
  .stack_size = 512 * 4,
  .priority = (osPriority_t) osPriorityLow,
};
/* Definitions for Log_and_debug */
osThreadId_t Log_and_debugHandle;
const osThreadAttr_t Log_and_debug_attributes = {
  .name = "Log_and_debug",
  .stack_size = 256 * 4,
  .priority = (osPriority_t) osPriorityLow,
};

void Remote_control_Task(void *argument);
void Gimbal_Task(void *argument);
void Chassis_Task(void *argument);
void Motor_control_Task(void *argument);
void Shoot_Task(void *argument);
void Referee_Task(void *argument);
void Log_and_debug_Task(void *argument);

extern void MX_USB_DEVICE_Init(void);
void MX_FREERTOS_Init(void); /* (MISRA C 2004 rule 8.1) */

/* Hook prototypes */
void vApplicationIdleHook(void);

/* USER CODE BEGIN 2 */
void vApplicationIdleHook(void)
{
}
/* USER CODE END 2 */

void MX_FREERTOS_Init(void) {

  /* Create the thread(s) */
  /* creation of Remote_control */
  Remote_controlHandle = osThreadNew(Remote_control_Task, NULL, &Remote_control_attributes);

  /* creation of Gimbal */
  GimbalHandle = osThreadNew(Gimbal_Task, NULL, &Gimbal_attributes);

  /* creation of Chassis */
  ChassisHandle = osThreadNew(Chassis_Task, NULL, &Chassis_attributes);

  /* creation of Motor_control */
  Motor_controlHandle = osThreadNew(Motor_control_Task, NULL, &Motor_control_attributes);

  /* creation of Shoot */
  ShootHandle = osThreadNew(Shoot_Task, NULL, &Shoot_attributes);

  /* creation of Referee */
  RefereeHandle = osThreadNew(Referee_Task, NULL, &Referee_attributes);

  /* creation of Log_and_debug */
  Log_and_debugHandle = osThreadNew(Log_and_debug_Task, NULL, &Log_and_debug_attributes);

}

void Remote_control_Task(void *argument)
{
  /* init code for USB_DEVICE */
  MX_USB_DEVICE_Init();
  /* USER CODE BEGIN Remote_control_Task */
  (void)argument;
  /* Infinite loop */
  for (;;)
  {
    osDelay(1);
    App_RemoteStep();
    osDelay(1);
  }
  /* USER CODE END Remote_control_Task */
}

void Gimbal_Task(void *argument)
{
  /* USER CODE BEGIN Gimbal_Task */
  (void)argument;
  osDelay(500);
  App_GimbalInit();
  osDelay(500);
  /* Infinite loop */
  for (;;)
  {
    App_GimbalStep();
    osDelay(1);
  }
  /* USER CODE END Gimbal_Task */
}

void Chassis_Task(void *argument)
{
  /* USER CODE BEGIN Chassis_Task */
  (void)argument;
  osDelay(500);
  App_ChassisInit();
  /* Infinite loop */
  for (;;)
  {
    App_ChassisStep();
    App_LinkStep();
    osDelay(1);
  }
  /* USER CODE END Chassis_Task */
}

void Motor_control_Task(void *argument)
{
  /* USER CODE BEGIN Motor_control_Task */
  (void)argument;
  /* Infinite loop */
  for (;;)
  {
    App_MotorStep();
    if (App_WatchdogRefreshAllowed())
      HAL_IWDG_Refresh(&hiwdg1);
    osDelay(1);
  }
  /* USER CODE END Motor_control_Task */
}

void Shoot_Task(void *argument)
{
  /* USER CODE BEGIN Shoot_Task */
  (void)argument;
  osDelay(500);
  App_ShootInit();
  /* Infinite loop */
  for (;;)
  {
    static float tx_buf[2] = {0.0f, 0.0f};
    tx_buf[0] = BoardLink.body_gyro_z;
    tx_buf[1] = 0.0f;
    Vofa_SendFloat(tx_buf, 2);
    App_ShootStep();
    osDelay(1);
  }
  /* USER CODE END Shoot_Task */
}

void Referee_Task(void *argument)
{
  /* USER CODE BEGIN Referee_Task */
  (void)argument;
  /* Infinite loop */
  for (;;)
  {
    App_RefereeStep();
    osDelay(100);
  }
  /* USER CODE END Referee_Task */
}

void Log_and_debug_Task(void *argument)
{
  /* USER CODE BEGIN Log_and_debug_Task */
  (void)argument;
  /* Infinite loop */
  for (;;)
  {

    LED_ShowColor(RED);
    osDelay(500);
    LED_ShowColor(BLUE);
    osDelay(500);
    LED_ShowColor(GREEN);
    osDelay(500);
  }
  /* USER CODE END Log_and_debug_Task */
}
